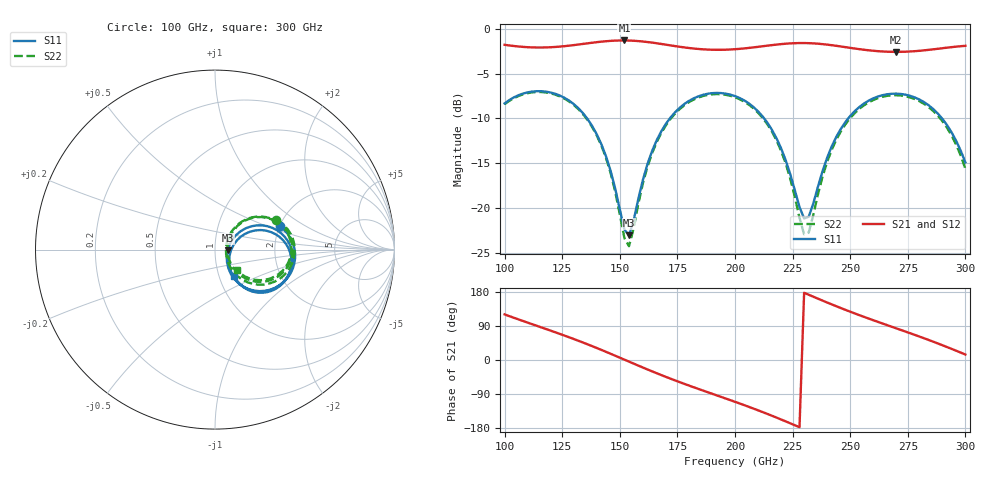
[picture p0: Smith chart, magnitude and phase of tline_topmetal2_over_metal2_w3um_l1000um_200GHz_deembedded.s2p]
! Created with skrf 2.0.1 (http://scikit-rf.org).
# GHz S DB R 50.0
!freq dBS11 angS11 dBS21 angS21 dBS12 angS12 dBS22 angS22
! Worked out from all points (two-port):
!   101 points, 100 GHz to 300 GHz, reference 50 ohm
!   highest |S21| = -1.30 dB at 152 GHz (marker M1); lowest = -2.6 dB at 270 GHz (marker M2)
!   |S21| within 3 dB of the highest: start of sweep to end of sweep
!   lowest |S11| = -23.0 dB at 154 GHz (marker M3), VSWR 1.15, Z = 57.6 - j0.571 ohm
!   |S11| at or under -10 dB: 135.8 GHz to 171.7 GHz (35.91 GHz wide, 23.4 % of centre); 212.7 GHz to 249.2 GHz (36.5 GHz wide, 15.8 % of centre); 289.9 GHz to end of sweep
!   |S22| runs from -24.3 to -7.0 dB; largest |S21 - S12| = 9.3e-14
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100  -8.32 19.7  -1.78 120.3  -1.78 120.3  -8.41 26.2
116  -6.96 -10.1  -2.08 85.9  -2.08 85.9  -7.05 -3.0
134  -9.41 -43.1  -1.68 46.2  -1.68 46.2  -9.51 -35.6
144  -14.22 -56.8  -1.38 21.6  -1.38 21.6  -14.40 -49.8
152  -22.40 -30.2  -1.30 0.9  -1.30 0.9  -23.36 -24.0
154  -23.05 -4.0  -1.31 -4.3  -1.31 -4.3  -24.26 6.0
162  -15.10 35.6  -1.47 -24.9  -1.47 -24.9  -15.39 48.2
168  -11.44 30.2  -1.69 -39.7  -1.69 -39.7  -11.62 42.3
182  -7.77 6.6  -2.19 -71.8  -2.19 -71.8  -7.90 18.4
200  -7.51 -25.4  -2.27 -110.3  -2.27 -110.3  -7.64 -13.5
210  -9.21 -42.6  -2.01 -132.7  -2.01 -132.7  -9.36 -31.0
218  -12.21 -53.7  -1.76 -152.0  -1.76 -152.0  -12.44 -43.1
224  -16.24 -54.1  -1.62 -167.1  -1.62 -167.1  -16.74 -45.1
230  -21.16 -21.9  -1.59 177.4  -1.59 177.4  -22.93 -10.7
234  -19.48 14.0  -1.62 167.0  -1.62 167.0  -20.76 33.6
240  -14.38 27.6  -1.76 151.7  -1.76 151.7  -14.85 46.5
248  -10.37 20.4  -2.05 132.2  -2.05 132.2  -10.63 37.9
258  -8.02 4.4  -2.39 109.4  -2.39 109.4  -8.21 21.2
268  -7.25 -12.5  -2.57 87.8  -2.57 87.8  -7.42 3.8
270  -7.24 -15.9  -2.57 83.5  -2.57 83.5  -7.41 0.3
288  -9.44 -45.3  -2.23 43.8  -2.23 43.8  -9.68 -30.8
300  -14.90 -53.9  -1.90 14.4  -1.90 14.4  -15.63 -43.3
